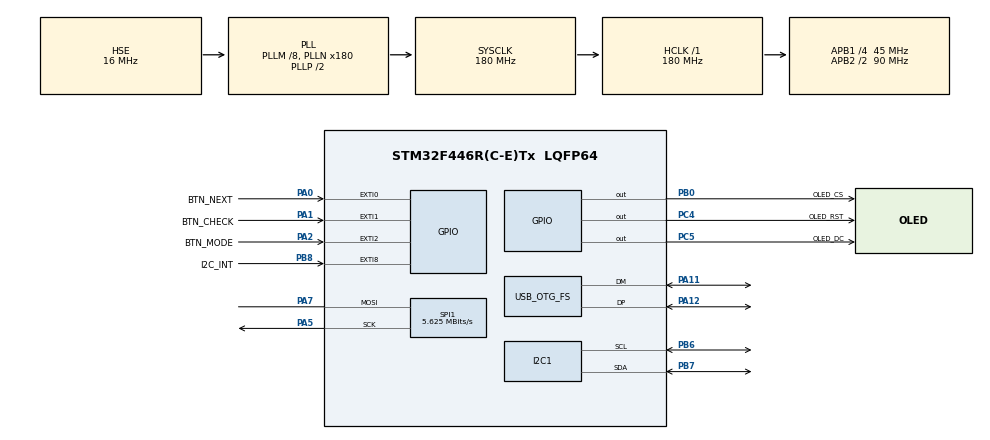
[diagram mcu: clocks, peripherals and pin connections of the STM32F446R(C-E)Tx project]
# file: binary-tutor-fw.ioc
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FREERTOS.Tasks01=defaultTask,24,512,StartDefaultTask,Default,NULL,Dynamic,NULL,NULL
FREERTOS.configTOTAL_HEAP_SIZE=65536
FREERTOS.configUSE_NEWLIB_REENTRANT=1
Mcu.Family=STM32F4
Mcu.Name=STM32F446R(C-E)Tx
Mcu.Package=LQFP64
NVIC.EXTI0_IRQn=true\:5\:0\:false\:false\:true\:true\:true\:true\:true
NVIC.EXTI1_IRQn=true\:5\:0\:false\:false\:true\:true\:true\:true\:true
NVIC.EXTI2_IRQn=true\:5\:0\:false\:false\:true\:true\:true\:true\:true
NVIC.EXTI9_5_IRQn=true\:5\:0\:false\:false\:true\:true\:true\:true\:true
NVIC.OTG_FS_IRQn=true\:5\:0\:false\:false\:true\:true\:false\:true\:true
NVIC.PriorityGroup=NVIC_PRIORITYGROUP_4
NVIC.TIM6_DAC_IRQn=true\:15\:0\:false\:false\:true\:false\:false\:true\:true
NVIC.TimeBase=TIM6_DAC_IRQn
NVIC.TimeBaseIP=TIM6
PA0-WKUP.GPIO_Label=BTN_NEXT
PA0-WKUP.GPIO_ModeDefaultEXTI=GPIO_MODE_IT_FALLING
PA0-WKUP.GPIO_PuPd=GPIO_PULLUP
PA0-WKUP.Signal=GPXTI0
PA1.GPIO_Label=BTN_CHECK
PA1.GPIO_ModeDefaultEXTI=GPIO_MODE_IT_FALLING
PA1.GPIO_PuPd=GPIO_PULLUP
PA1.Signal=GPXTI1
PA11.Mode=Device_Only
PA11.Signal=USB_OTG_FS_DM
PA12.Mode=Device_Only
PA12.Signal=USB_OTG_FS_DP
PA13.Mode=Trace_Asynchronous_SW
PA13.Signal=SYS_JTMS-SWDIO
PA14.Mode=Trace_Asynchronous_SW
PA14.Signal=SYS_JTCK-SWCLK
PA2.GPIO_Label=BTN_MODE
PA2.GPIO_ModeDefaultEXTI=GPIO_MODE_IT_FALLING
PA2.GPIO_PuPd=GPIO_PULLUP
PA2.Signal=GPXTI2
PA5.Mode=Simplex_Bidirectional_Master
PA5.Signal=SPI1_SCK
PA7.Mode=Simplex_Bidirectional_Master
PA7.Signal=SPI1_MOSI
PB0.GPIO_Label=OLED_CS
PB0.Signal=GPIO_Output
PB3.Mode=Trace_Asynchronous_SW
PB3.Signal=SYS_JTDO-SWO
PB6.GPIO_Pu=GPIO_PULLUP
PB6.Mode=I2C
PB6.Signal=I2C1_SCL
PB7.GPIO_Pu=GPIO_PULLUP
PB7.Mode=I2C
PB7.Signal=I2C1_SDA
PB8.GPIO_Label=I2C_INT
PB8.GPIO_ModeDefaultEXTI=GPIO_MODE_IT_FALLING
PB8.GPIO_PuPd=GPIO_PULLUP
PB8.Signal=GPXTI8
PC4.GPIO_Label=OLED_RST
PC4.Signal=GPIO_Output
PC5.GPIO_Label=OLED_DC
PC5.Signal=GPIO_Output
PH0-OSC_IN.Mode=HSE-External-Oscillator
PH0-OSC_IN.Signal=RCC_OSC_IN
PH1-OSC_OUT.Mode=HSE-External-Oscillator
PH1-OSC_OUT.Signal=RCC_OSC_OUT
ProjectManager.HeapSize=0x1000
ProjectManager.StackSize=0x400
ProjectManager.TargetToolchain=STM32CubeIDE
RCC.AHBFreq_Value=180000000
RCC.APB1CLKDivider=RCC_HCLK_DIV4
RCC.APB1Freq_Value=45000000
RCC.APB1TimFreq_Value=90000000
RCC.APB2CLKDivider=RCC_HCLK_DIV2
RCC.APB2Freq_Value=90000000
RCC.APB2TimFreq_Value=180000000
RCC.CortexFreq_Value=180000000
RCC.HCLKFreq_Value=180000000
RCC.HSE_VALUE=16000000
RCC.PLLM=8
RCC.PLLN=180
RCC.PLLQ=3
RCC.PLLSAIM=8
RCC.PLLSAIN=96
RCC.PLLSAIP=RCC_PLLSAIP_DIV4
RCC.SYSCLKFreq_VALUE=180000000
RCC.SYSCLKSource=RCC_SYSCLKSOURCE_PLLCLK
RCC.USBCLockSelection=RCC_CLK48CLKSOURCE_PLLSAIP
RCC.USBFreq_Value=48000000
RCC.VCOOutputFreq_Value=360000000
SPI1.BaudRatePrescaler=SPI_BAUDRATEPRESCALER_16
SPI1.CLKPolarity=SPI_POLARITY_HIGH
SPI1.CalculateBaudRate=5.625 MBits/s
SPI1.Direction=SPI_DIRECTION_1LINE
SPI1.Mode=SPI_MODE_MASTER
SPI1.VirtualType=VM_MASTER
TIM5.Prescaler=9000
USB_DEVICE.CLASS_NAME_FS=CDC
USB_DEVICE.VirtualMode-CDC_FS=Cdc
USB_DEVICE.VirtualModeFS=Cdc_FS
USB_OTG_FS.VirtualMode=Device_Only
VP_CRC_VS_CRC.Mode=CRC_Activate
VP_FREERTOS_VS_CMSIS_V2.Mode=CMSIS_V2
VP_SYS_VS_tim6.Mode=TIM6
VP_TIM5_VS_ClockSourceINT.Mode=Internal
VP_USB_DEVICE_VS_USB_DEVICE_CDC_FS.Mode=CDC_FS
board=custom

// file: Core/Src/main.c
/* USER CODE BEGIN Header */
/**
 ******************************************************************************
 * @file           : main.c
 * @brief          : Main program body
 ******************************************************************************
 * @attention
 *
 * Copyright (c) 2024 STMicroelectronics.
 * All rights reserved.
 *
 * This software is licensed under terms that can be found in the LICENSE file
 * in the root directory of this software component.
 * If no LICENSE file comes with this software, it is provided AS-IS.
 *
 ******************************************************************************
 */
/* USER CODE END Header */
#include "main.h"
#include "cmsis_os.h"
#include "crc.h"
#include "i2c.h"
#include "spi.h"
#include "tim.h"
#include "usb_device.h"
#include "gpio.h"

/* USER CODE BEGIN Includes */
#include "ring_buffer.h"
#include <string.h>
/* USER CODE END Includes */

/* USER CODE BEGIN PV */
ring_buffer_t rx_buffer;
uint8_t update_screen_flag;  // required for ssd1306
uint8_t button_interrupt_flag;
uint8_t button_mode_flag;
uint8_t button_check_flag;
uint8_t button_next_flag;
uint8_t i2c_interrupt_flag;
/* USER CODE END PV */

void SystemClock_Config(void);
void MX_FREERTOS_Init(void);

int main(void) {

    /* MCU Configuration--------------------------------------------------------*/

    /* Reset of all peripherals, Initializes the Flash interface and the Systick. */
    HAL_Init();

    /* Configure the system clock */
    SystemClock_Config();

    /* Initialize all configured peripherals */
    MX_GPIO_Init();
    MX_I2C1_Init();
    MX_SPI1_Init();
    MX_CRC_Init();
    MX_TIM5_Init();
    /* USER CODE BEGIN 2 */

    // Initialize ring buffer
    ring_buffer_init(&rx_buffer, 256, sizeof(uint8_t));

    // Initialize flags
    update_screen_flag = 0;
    button_interrupt_flag = 0;
    button_mode_flag = 0;
    button_check_flag = 0;
    button_next_flag = 0;
    i2c_interrupt_flag = 0;

    /* USER CODE END 2 */

    /* Init scheduler */
    osKernelInitialize();

    /* Call init function for freertos objects (in cmsis_os2.c) */
    MX_FREERTOS_Init();

    /* Start scheduler */
    osKernelStart();

    /* We should never get here as control is now taken by the scheduler */

    /* Infinite loop */
    while (1) {

    }
}

void SystemClock_Config(void) {
    RCC_OscInitTypeDef RCC_OscInitStruct = { 0 };
    RCC_ClkInitTypeDef RCC_ClkInitStruct = { 0 };

    /** Configure the main internal regulator output voltage
     */
    __HAL_RCC_PWR_CLK_ENABLE();
    __HAL_PWR_VOLTAGESCALING_CONFIG(PWR_REGULATOR_VOLTAGE_SCALE1);

    /** Initializes the RCC Oscillators according to the specified parameters
     * in the RCC_OscInitTypeDef structure.
     */
    RCC_OscInitStruct.OscillatorType = RCC_OSCILLATORTYPE_HSE;
    RCC_OscInitStruct.HSEState = RCC_HSE_ON;
    RCC_OscInitStruct.PLL.PLLState = RCC_PLL_ON;
    RCC_OscInitStruct.PLL.PLLSource = RCC_PLLSOURCE_HSE;
    RCC_OscInitStruct.PLL.PLLM = 8;
    RCC_OscInitStruct.PLL.PLLN = 180;
    RCC_OscInitStruct.PLL.PLLP = RCC_PLLP_DIV2;
    RCC_OscInitStruct.PLL.PLLQ = 3;
    RCC_OscInitStruct.PLL.PLLR = 2;
    if (HAL_RCC_OscConfig(&RCC_OscInitStruct) != HAL_OK) {
        Error_Handler();
    }

    /** Activate the Over-Drive mode
     */
    if (HAL_PWREx_EnableOverDrive() != HAL_OK) {
        Error_Handler();
    }

    /** Initializes the CPU, AHB and APB buses clocks
     */
    RCC_ClkInitStruct.ClockType = RCC_CLOCKTYPE_HCLK | RCC_CLOCKTYPE_SYSCLK | RCC_CLOCKTYPE_PCLK1
            | RCC_CLOCKTYPE_PCLK2;
    RCC_ClkInitStruct.SYSCLKSource = RCC_SYSCLKSOURCE_PLLCLK;
    RCC_ClkInitStruct.AHBCLKDivider = RCC_SYSCLK_DIV1;
    RCC_ClkInitStruct.APB1CLKDivider = RCC_HCLK_DIV4;
    RCC_ClkInitStruct.APB2CLKDivider = RCC_HCLK_DIV2;

    if (HAL_RCC_ClockConfig(&RCC_ClkInitStruct, FLASH_LATENCY_5) != HAL_OK) {
        Error_Handler();
    }
}

void HAL_TIM_PeriodElapsedCallback(TIM_HandleTypeDef *htim) {
    if (htim->Instance == TIM6) {
        HAL_IncTick();
    }
}

void Error_Handler(void) {
    __disable_irq();
    while (1) {
    }
}

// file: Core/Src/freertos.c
/* USER CODE BEGIN Header */
/**
 ******************************************************************************
 * File Name          : freertos.c
 * Description        : Code for freertos applications
 ******************************************************************************
 * @attention
 *
 * Copyright (c) 2024 STMicroelectronics.
 * All rights reserved.
 *
 * This software is licensed under terms that can be found in the LICENSE file
 * in the root directory of this software component.
 * If no LICENSE file comes with this software, it is provided AS-IS.
 *
 ******************************************************************************
 */
/* USER CODE END Header */

#include "FreeRTOS.h"
#include "task.h"
#include "main.h"
#include "cmsis_os.h"

/* USER CODE BEGIN Includes */
#include "ring_buffer.h"
#include <string.h>
#include "i2c_util.h"
#include "splash.h"
#include "tca9555.h"
#include "io_expander.h"
#include "ssd1306.h"
#include "ui.h"
#include "tutor.h"
#include "rng.h"
/* USER CODE END Includes */

/* USER CODE BEGIN Variables */
extern uint8_t update_screen_flag;
extern uint8_t button_interrupt_flag;
extern uint8_t button_mode_flag;
extern uint8_t button_check_flag;
extern uint8_t button_next_flag;
extern uint8_t i2c_interrupt_flag;
extern ring_buffer_t rx_buffer;
extern I2C_HandleTypeDef hi2c1;
extern TIM_HandleTypeDef htim5;
/* USER CODE END Variables */
/* Definitions for defaultTask */
osThreadId_t defaultTaskHandle;
const osThreadAttr_t defaultTask_attributes = { .name = "defaultTask", .stack_size = 512 * 4, .priority =
        (osPriority_t) osPriorityNormal, };

void StartDefaultTask(void *argument);

extern void MX_USB_DEVICE_Init(void);
void MX_FREERTOS_Init(void); /* (MISRA C 2004 rule 8.1) */

void MX_FREERTOS_Init(void) {

    /* Create the thread(s) */
    /* creation of defaultTask */
    defaultTaskHandle = osThreadNew(StartDefaultTask, NULL, &defaultTask_attributes);

}

void StartDefaultTask(void *argument) {
    /* init code for USB_DEVICE */
    MX_USB_DEVICE_Init();
    /* USER CODE BEGIN StartDefaultTask */

    // Local variables
    tca9555_t io_expander_btn;
    tca9555_t io_expander_led;
    char terminal_buffer[80];
    tutor_t tutor = { 0 };

    // Start timer
    HAL_TIM_Base_Start_IT(&htim5);

    // Show splash screen
    splash();

    // Scan I2C bus for devices
    scan_i2c_bus(&hi2c1);

    // Initialize I2C I/O expander
    tca9555_init(&io_expander_btn, &hi2c1, IO_EXPANDER_ADDRESS_BTN);
    tca9555_init(&io_expander_led, &hi2c1, IO_EXPANDER_ADDRESS_LED);
    io_expander_btn.port0_config = IO_EXPANDER_CONFIG_BTN & 0xFF;
    io_expander_btn.port1_config = (IO_EXPANDER_CONFIG_BTN >> 8) && 0xFF;
    io_expander_led.port0_config = IO_EXPANDER_CONFIG_LED & 0xFF;
    io_expander_led.port1_config = (IO_EXPANDER_CONFIG_LED >> 8) && 0xFF;
    tca9555_set_config(&io_expander_btn);
    tca9555_set_config(&io_expander_led);

//    uint16_t value = 0;
    uint16_t prev_btn_value = 0;
    tutor_action_t action = TUTOR_ACTION_INIT;

    tutor_init(&tutor, &io_expander_led);

    /* Infinite loop */
    for (;;) {
        if (i2c_interrupt_flag) {
            i2c_interrupt_flag = 0;
//            print_terminal("I2C Interrupt\n");
            tca9555_read_input(&io_expander_btn);
            uint16_t btn_value = get_btn_value(io_expander_btn.data) & 0xFF;
            if (!(btn_value & prev_btn_value) && btn_value) {
//                print_terminal("Button Value: ");
                sprintf(terminal_buffer, "%04X %04d\n", btn_value, btn_value);
//                print_terminal(terminal_buffer);
                action = TUTOR_ACTION_BTN_PRESSED;
                tutor.btn_value = btn_value;
            }
            prev_btn_value = btn_value;
        }
        if (button_interrupt_flag) {
            rng_next(); // Advance RNG to add entropy from timing of button presses
            button_interrupt_flag = 0;
            if (button_next_flag) {
                button_next_flag = 0;
//                print_terminal("Next Button\n");
                action = TUTOR_ACTION_NEXT;
            }
            if (button_check_flag) {
                button_check_flag = 0;
//                print_terminal("Check Button\n");
                action = TUTOR_ACTION_CHECK;
            }
            if (button_mode_flag) {
                button_mode_flag = 0;
//                print_terminal("Mode Button\n");
                action = TUTOR_ACTION_MODE;
            }
        }
//        io_expander_led.data = get_selected_led(value) | get_check_led(255 - value);
//        tca9555_write_output(&io_expander_led);
//        value++;
//        if (value == 256) {
//            value = 0;
//        }
//        osDelay(75);
        tutor_task(&tutor, action);
        action = TUTOR_ACTION_IDLE;
        osThreadYield();
    }
    /* USER CODE END StartDefaultTask */
}
